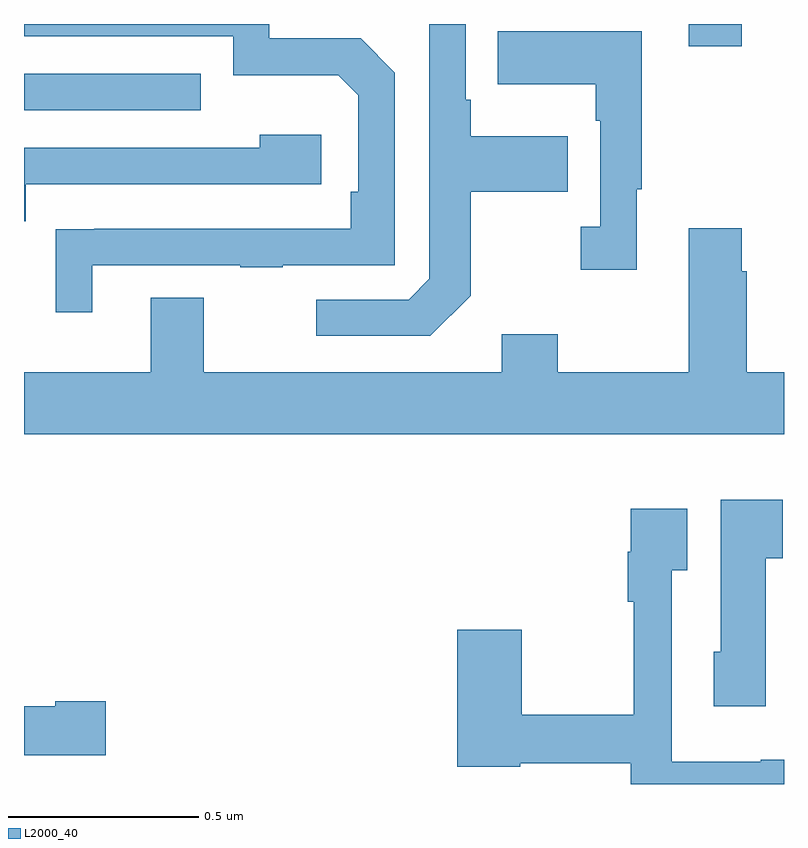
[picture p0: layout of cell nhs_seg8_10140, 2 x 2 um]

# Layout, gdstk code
import gdstk
lib = gdstk.Library(unit=1e-6, precision=1e-09)
def R(c, l, rs):  # rectangles x0, y0, x1, y1
    for r in rs: c.add(gdstk.rectangle(r[:2], r[2:], *l))
def P(c, l, *ps):  # polygons
    for p in ps: c.add(gdstk.Polygon(p, *l))
L2000_40 = (2000, 40)

nhs_seg8_10140 = lib.new_cell('nhs_seg8_10140')
R(nhs_seg8_10140, L2000_40, [(245,1130.673,245.465,1130.769), (246.749,1130.841,246.889,1130.9)])
P(nhs_seg8_10140, L2000_40, [(245.179,1130.265),(245.569,1130.265),(245.569,1130.26),(245.681,1130.26),(245.681,1130.265),(245.976,1130.265),(245.976,1130.772),(245.886,1130.862),(245.646,1130.862),(245.646,1130.9),(245,1130.9),(245,1130.868),(245.55,1130.868),(245.55,1130.765),(245.827,1130.765),(245.88,1130.712),(245.88,1130.458),(245.86,1130.458),(245.86,1130.361),(245.185,1130.361),(245.185,1130.36),(245.083,1130.36),(245.083,1130.142),(245.179,1130.142)],
  [(246.175,1130.185),(246.175,1130.458),(246.431,1130.458),(246.431,1130.605),(246.175,1130.605),(246.175,1130.701),(246.162,1130.701),(246.162,1130.9),(246.066,1130.9),(246.066,1130.229),(246.012,1130.175),(245.769,1130.175),(245.769,1130.079),(246.069,1130.079)],
  [(246.613,1130.465),(246.625,1130.465),(246.625,1130.881),(246.247,1130.881),(246.247,1130.741),(246.504,1130.741),(246.504,1130.645),(246.516,1130.645),(246.516,1130.366),(246.465,1130.366),(246.465,1130.253),(246.613,1130.253)],
  [(245.005,1130.478),(245.782,1130.478),(245.782,1130.608),(245.621,1130.608),(245.621,1130.574),(245,1130.574),(245,1130.381),(245.005,1130.381)],
  [(247,1129.984),(246.902,1129.984),(246.902,1130.249),(246.889,1130.249),(246.889,1130.362),(246.749,1130.362),(246.749,1129.984),(246.405,1129.984),(246.405,1130.083),(246.257,1130.083),(246.257,1129.984),(245.473,1129.984),(245.473,1130.179),(245.333,1130.179),(245.333,1129.984),(245,1129.984),(245,1129.82),(247,1129.82)],
  [(246.952,1129.494),(246.997,1129.494),(246.997,1129.648),(246.833,1129.648),(246.833,1129.248),(246.815,1129.248),(246.815,1129.104),(246.952,1129.104)],
  [(247,1128.964),(246.939,1128.964),(246.939,1128.958),(246.705,1128.958),(246.705,1129.463),(246.745,1129.463),(246.745,1129.624),(246.597,1129.624),(246.597,1129.511),(246.589,1129.511),(246.589,1129.379),(246.604,1129.379),(246.604,1129.082),(246.31,1129.082),(246.31,1129.306),(246.14,1129.306),(246.14,1128.946),(246.306,1128.946),(246.306,1128.954),(246.597,1128.954),(246.597,1128.9),(247,1128.9)],
  [(245.215,1129.118),(245.082,1129.118),(245.082,1129.105),(245,1129.105),(245,1128.976),(245.215,1128.976)])

lib.write_gds('nhs_seg8_10140.gds')
